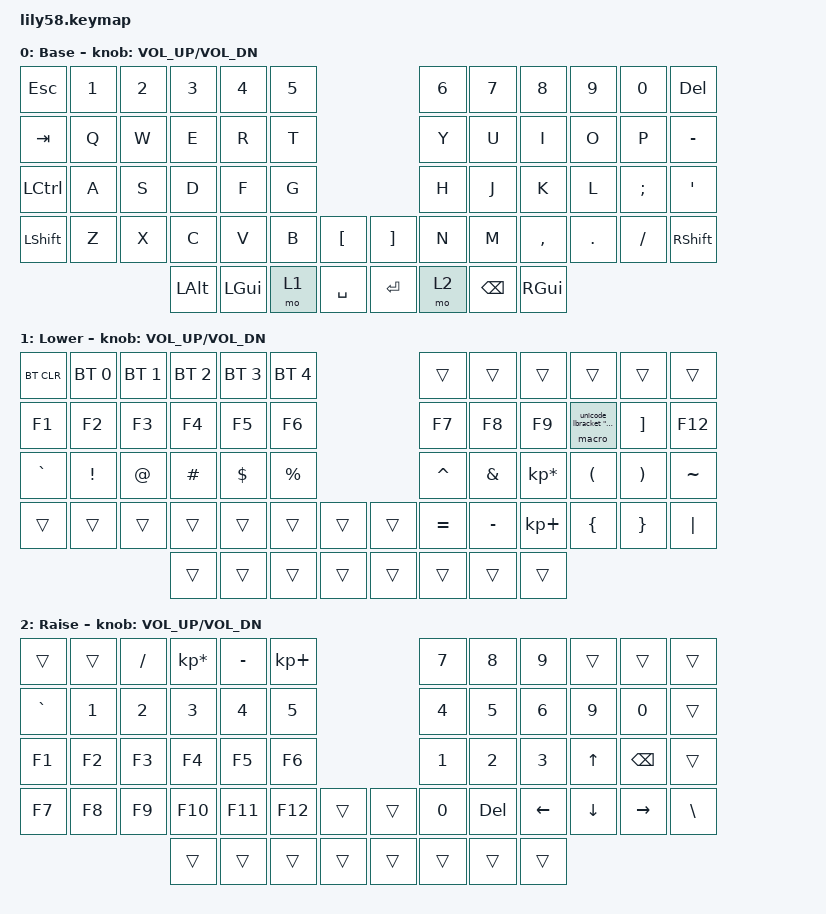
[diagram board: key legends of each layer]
/*
 * Copyright (c) 2020 The ZMK Contributors
 *
 * SPDX-License-Identifier: MIT
 */

#include <behaviors.dtsi>
#include <dt-bindings/zmk/keys.h>
#include <dt-bindings/zmk/bt.h>
#include <dt-bindings/zmk/ext_power.h>

/ {
    keymap {
        compatible = "zmk,keymap";

        default_layer {
// ------------------------------------------------------------------------------------------------------------
//            !     "     §      $      %                          &      /       (       )       =
// |  ESC  |  1  |  2  |  3   |  4   |  5   |                   |  6   |  7    |  8    |  9   |   0   |  DEL  |
// |  TAB  |  Q  |  W  |  E   |  R   |  T   |                   |  Y   |  U    |  I    |  O   |   P   |   -ß   |
// |  CTRL |  A  |  S  |  D   |  F   |  G   |                   |  H   |  J    |  K    |  L   |   ;ö   |   'ä  |
// | SHIFT |  Z  |  X  |  C   |  V   |  B   |   "["ü  |  |  "]"+   |  N   |  M    |  , |  .   |   -   | SHIFT |
//                     | ALT  | GUI  | LOWER|  SPACE |  | ENTER | RAISE| BSPC  | GUI   |
            display-name = "Base";
            bindings = <
&kp ESC   &kp N1 &kp N2 &kp N3   &kp N4   &kp N5                     &kp N6 &kp N7   &kp N8    &kp N9  &kp N0   &kp DEL
&kp TAB   &kp Q  &kp W  &kp E    &kp R    &kp T                      &kp Y  &kp U    &kp I     &kp O   &kp P    &kp MINUS
&kp LCTRL &kp A  &kp S  &kp D    &kp F    &kp G                      &kp H  &kp J    &kp K     &kp L   &kp SEMI &kp SQT
&kp LSHFT &kp Z  &kp X  &kp C    &kp V    &kp B  &kp LBKT   &kp RBKT &kp N  &kp M    &kp COMMA &kp DOT &kp FSLH &kp RSHFT
                        &kp LALT &kp LGUI &mo 1  &kp SPACE  &kp RET  &mo 2  &kp BSPC &kp RGUI
            >;

            sensor-bindings = <&inc_dec_kp C_VOL_UP C_VOL_DN>;
        };

        lower_layer {
// ------------------------------------------------------------------------------------------------------------
// | BTCLR | BT1 | BT2 |  BT3 |  BT4 |  BT5 |                   |      |       |       |      |       |       |
// |  F1   |  F2 |  F3 |  F4  |  F5  |  F6  |                   |  F7  |  F8   |  F9   |   [  |   ]   |  F12  |
// |   `^  |  !" |  @§ |  #§  |  $   |  %   |                   |  ^&   |  &/    |  *    |  ()   |   )=   |   ~°   |
// |    ^  |  y  |  x  |   c  |  v   |  b   |        |  |       |   ='  |  _ß    |  +    |  {Ü   |   }*   |  "|"'  |
//                     |      |      |      |        |  |       |      |       |       |
            display-name = "Lower";
            bindings = <
&bt BT_CLR &bt BT_SEL 0     &bt BT_SEL 1      &bt BT_SEL 2      &bt BT_SEL 3 &bt BT_SEL 4                 &trans    &trans    &trans   &trans    &trans    &trans
&kp F1     &kp F2           &kp F3            &kp F4            &kp F5       &kp F6         &kp F7   &kp F8    &kp F9   &macro unicode_lbracket "005B" &kp RBKT   &kp F12
&kp GRAVE  &kp EXCL         &kp AT            &kp HASH          &kp DOLLAR   &kp PRCNT                    &kp CARET &kp AMPS  &kp KP_MULTIPLY &kp LPAR  &kp RPAR  &kp TILDE
&trans     &trans           &trans            &trans            &trans       &trans    &trans   &trans    &kp EQUAL    &kp MINUS &kp KP_PLUS     &kp LBRC  &kp RBRC  &kp PIPE
                                              &trans            &trans       &trans    &trans   &trans    &trans    &trans    &trans
            >;

            sensor-bindings = <&inc_dec_kp C_VOL_UP C_VOL_DN>;
        };

        raise_layer {
// ------------------------------------------------------------------------------------------------------------
// |       |     |  /- |   ** |  -ß  |  +   |                   |  7   |   8   |   9   |      |       |       |
// |   `   |  1  |  2  |  3   |  4   |  5   |                   |  4   |   7   |   8   |      |       |       |
// |   F1  |  F2 |  F3 |  F4  |  F5  |  F6  |                   |  1   |   2   |   3   |  ^   |  BSPC |       |
// |   F7  |  F8 |  F9 |  F10 |  F11 |  F12 |        |  |       |  0   |  DEL  |  <-   |  v   |   ->  |   \#   |
//                     |      |      |      |        |  |       |      |       |       |
            display-name = "Raise";
            bindings = <
&trans    &trans &kp FSLH &kp KP_MULTIPLY  &kp MINUS  &kp KP_PLUS    &kp N7      &kp N8    &kp N9    &trans   &trans    &trans
&kp GRAVE &kp N1 &kp N2 &kp N3  &kp N4  &kp N5                       &kp N4      &kp N5    &kp N6    &kp N9   &kp N0    &trans
&kp F1    &kp F2 &kp F3 &kp F4  &kp F5  &kp F6                       &kp N1      &kp N2    &kp N3    &kp UP   &kp BSPC &trans
&kp F7    &kp F8 &kp F9 &kp F10 &kp F11 &kp F12   &trans   &trans    &kp N0      &kp DEL   &kp LEFT  &kp DOWN &kp RIGHT  &kp BSLH
                        &trans  &trans  &trans    &trans   &trans    &trans      &trans    &trans
            >;

            sensor-bindings = <&inc_dec_kp C_VOL_UP C_VOL_DN>;
        };

        extra_1 {
            status = "reserved";
        };

        extra_2 {
            status = "reserved";
        };

        extra_3 {
            status = "reserved";
        };
    };
};
